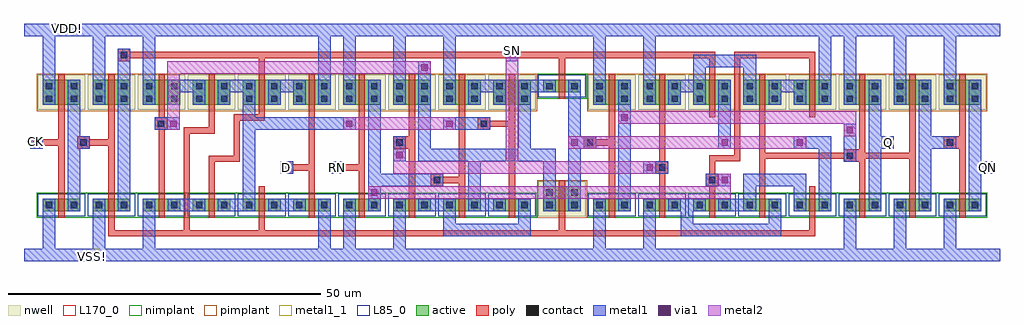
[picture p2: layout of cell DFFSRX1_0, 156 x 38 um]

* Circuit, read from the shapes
.subckt DFFSRX1_0 CK D Q QN RN SN VDD! VSS!
M1 n1 CK VSS! VSUBS nfet w=2u l=1u
M2 n2 n1 VSS! VSUBS nfet w=2u l=1u
M3 n3 n4 VSS! VSUBS nfet w=2u l=1u
M4 n5 n2 n3 VSUBS nfet w=2u l=1u
M5 n6 n1 n5 VSUBS nfet w=2u l=1u
M6 VSS! D n6 VSUBS nfet w=2u l=1u
M7 n7 RN VSS! VSUBS nfet w=2u l=1u
M8 n8 SN VSS! VSUBS nfet w=2u l=1u
M9 n4 n7 n8 VSUBS nfet w=2u l=1u
M10 n8 n5 n4 VSUBS nfet w=2u l=1u
M11 n9 n2 n4 VSUBS nfet w=2u l=1u
M12 n10 n9 VSS! VSUBS nfet w=2u l=1u
M13 n11 SN VSS! VSUBS nfet w=2u l=1u
M14 n12 n7 n11 VSUBS nfet w=2u l=1u
M15 n11 n10 n12 VSUBS nfet w=2u l=1u
M16 n9 n1 n12 VSUBS nfet w=2u l=1u
M17 Q n10 VSS! VSUBS nfet w=2u l=1u
M18 n13 n10 VSS! VSUBS nfet w=2u l=1u
M19 QN n13 VSS! VSUBS nfet w=2u l=1u
M20 n1 CK VDD! n14 pfet w=4u l=1u
M21 n2 n1 VDD! n15 pfet w=4u l=1u
M22 n16 n4 VDD! n17 pfet w=4u l=1u
M23 n5 n1 n16 n18 pfet w=4u l=1u
M24 n19 n2 n5 n20 pfet w=4u l=1u
M25 VDD! D n19 n21 pfet w=4u l=1u
M26 n7 RN VDD! n22 pfet w=4u l=1u
M27 n4 SN VDD! n23 pfet w=4u l=1u
M28 n24 n7 VDD! n25 pfet w=4u l=1u
M29 n4 n5 n24 n26 pfet w=4u l=1u
M30 n9 n1 n4 n27 pfet w=4u l=1u
M31 n10 n9 VDD! n28 pfet w=4u l=1u
M32 n29 SN VDD! n30 pfet w=4u l=1u
M33 n9 n2 n29 n31 pfet w=4u l=1u
M34 n32 n10 n29 n33 pfet w=4u l=1u
M35 VDD! n7 n32 n34 pfet w=4u l=1u
M36 Q n10 VDD! n35 pfet w=4u l=1u
M37 n13 n10 VDD! n36 pfet w=4u l=1u
M38 QN n13 VDD! n37 pfet w=4u l=1u
.ends

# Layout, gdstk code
from math import pi, radians
import gdstk
lib = gdstk.Library(unit=1e-6, precision=5e-10)
def R(c, l, rs):  # rectangles x0, y0, x1, y1
    for r in rs: c.add(gdstk.rectangle(r[:2], r[2:], *l))
active = (1, 0)
nwell = (2, 0)
poly = (3, 0)
nimplant = (4, 0)
pimplant = (5, 0)
contact = (6, 0)
metal1 = (7, 0)
metal1_1 = (7, 1)
via1 = (8, 0)
metal2 = (9, 0)
L85_0 = (85, 0)
L170_0 = (170, 0)

nmos3_cdns_641374622494 = lib.new_cell('nmos3_CDNS_641374622494')
R(nmos3_cdns_641374622494, active, [(1,1,7,3)])
R(nmos3_cdns_641374622494, poly, [(3.5,0,4.5,5), (3.6,3.5,4.4,3.9)])
R(nmos3_cdns_641374622494, nimplant, [(0,0,8,4)])
R(nmos3_cdns_641374622494, contact, [(1.5,1.5,2.5,2.5), (5.5,1.5,6.5,2.5), (5.5,1.5,6.5,2.5)])
R(nmos3_cdns_641374622494, metal1, [(1,1,3,3), (5,1,7,3), (1.3,1.3,2.7,2.7), (5.3,1.3,6.7,2.7)])
R(nmos3_cdns_641374622494, L85_0, [(0.2,0.2,7.8,3.8)])
R(nmos3_cdns_641374622494, L170_0, [(4.5,1,7,3)])

pmos3_cdns_641374622495 = lib.new_cell('pmos3_CDNS_641374622495')
R(pmos3_cdns_641374622495, active, [(1,1,7,5)])
R(pmos3_cdns_641374622495, nwell, [(0.2,0.2,7.8,5.8)])
R(pmos3_cdns_641374622495, poly, [(3.5,0,4.5,7), (3.6,5.6,4.4,5.9)])
R(pmos3_cdns_641374622495, pimplant, [(0,0,8,6)])
R(pmos3_cdns_641374622495, contact, [(1.5,1.5,2.5,2.5), (5.5,1.5,6.5,2.5), (5.5,1.5,6.5,2.5), (1.5,3.5,2.5,4.5), (5.5,3.5,6.5,4.5)])
R(pmos3_cdns_641374622495, metal1, [(1,1,3,5), (5,1,7,5), (1.3,1.3,2.7,2.7), (5.3,1.3,6.7,2.7)])
R(pmos3_cdns_641374622495, L170_0, [(4.5,1,7,5)])

m1_po_cdns_641374622490 = lib.new_cell('M1_PO_CDNS_641374622490')
R(m1_po_cdns_641374622490, poly, [(-1,-1,1,1)])
R(m1_po_cdns_641374622490, contact, [(-0.5,-0.5,0.5,0.5)])
R(m1_po_cdns_641374622490, metal1, [(-1,-1,1,1)])

m2_m1_cdns_641374622491 = lib.new_cell('M2_M1_CDNS_641374622491')
R(m2_m1_cdns_641374622491, metal1, [(-1,-1,1,1)])
R(m2_m1_cdns_641374622491, via1, [(-0.5,-0.5,0.5,0.5)])
R(m2_m1_cdns_641374622491, metal2, [(-1,-1,1,1)])

dffsrx1_0 = lib.new_cell('DFFSRX1_0')
R(dffsrx1_0, poly, [(132.2,14.9,133.8,16.9), (61,17,61.9,19), (148.7,17,150,19)])
R(dffsrx1_0, metal1, [(103.1,7.1,108.8,9), (41,13,43,15), (49,13,51,15), (151,13,155,15), (1,17,3,19), (77,31,79,33), (77,31,79,33)])
R(dffsrx1_0, metal1_1, [(10,-1,12,1), (41,13,43,15), (49,13,51,15), (153,13,155,15), (1,17,3,19), (137,17,139,19), (77,31,79,33), (6,35,8,37)])
dffsrx1_0.add(gdstk.FlexPath([(34,22),(38.5,22)], 1, ends=(0.5, 0), simple_path=True, layer=3, datatype=0))  # poly
dffsrx1_0.add(gdstk.FlexPath([(34,15.4),(34,22)], 1, ends="extended", simple_path=True, layer=3, datatype=0))  # poly
dffsrx1_0.add(gdstk.FlexPath([(30,15.4),(34,15.4)], 1, ends="extended", simple_path=True, layer=3, datatype=0))  # poly
dffsrx1_0.add(gdstk.FlexPath([(30,9.5),(30,15.4)], 1, ends=(0, 0.5), simple_path=True, layer=3, datatype=0))  # poly
dffsrx1_0.add(gdstk.FlexPath([(14,3.5),(26,3.5)], 1, ends="extended", simple_path=True, layer=3, datatype=0))  # poly
dffsrx1_0.add(gdstk.FlexPath([(26,19.9),(26,3.5)], 1, ends="extended", simple_path=True, layer=3, datatype=0))  # poly
dffsrx1_0.add(gdstk.FlexPath([(30,19.9),(26,19.9)], 1, ends="extended", simple_path=True, layer=3, datatype=0))  # poly
dffsrx1_0.add(gdstk.FlexPath([(30,23.4),(30,19.9)], 1, ends=(0, 0.5), simple_path=True, layer=3, datatype=0))  # poly
dffsrx1_0.add(gdstk.FlexPath([(22,9.5),(22,24)], 1, ends="flush", simple_path=True, layer=3, datatype=0))  # poly
dffsrx1_0.add(gdstk.FlexPath([(150,9.5),(150,23.7)], 1, ends="flush", simple_path=True, layer=3, datatype=0))  # poly
dffsrx1_0.add(gdstk.FlexPath([(142,15.9),(142,23.8)], 1, ends=(0.5, 0), simple_path=True, layer=3, datatype=0))  # poly
dffsrx1_0.add(gdstk.FlexPath([(142,9.5),(142,15.9)], 1, ends=(0, 0.5), simple_path=True, layer=3, datatype=0))  # poly
dffsrx1_0.add(gdstk.FlexPath([(134,9.3),(134,23.8)], 1, ends="flush", simple_path=True, layer=3, datatype=0))  # poly
dffsrx1_0.add(gdstk.FlexPath([(118,15.9),(142,15.9)], 1, ends="extended", simple_path=True, layer=3, datatype=0))  # poly
dffsrx1_0.add(gdstk.FlexPath([(118,15.9),(118,23.4)], 1, ends=(0.5, 0), simple_path=True, layer=3, datatype=0))  # poly
dffsrx1_0.add(gdstk.FlexPath([(126,22.8),(126,32)], 1, ends=(0, 0.5), simple_path=True, layer=3, datatype=0))  # poly
dffsrx1_0.add(gdstk.FlexPath([(126,32),(114,32)], 1, ends="extended", simple_path=True, layer=3, datatype=0))  # poly
dffsrx1_0.add(gdstk.FlexPath([(114,32),(114,15.5)], 1, ends="extended", simple_path=True, layer=3, datatype=0))  # poly
dffsrx1_0.add(gdstk.FlexPath([(114,15.5),(110,15.5)], 1, ends="extended", simple_path=True, layer=3, datatype=0))  # poly
dffsrx1_0.add(gdstk.FlexPath([(110,15.5),(110,12)], 1, ends=(0.5, 0), simple_path=True, layer=3, datatype=0))  # poly
dffsrx1_0.add(gdstk.FlexPath([(126,9.9),(126,3.5)], 1, ends=(0, 0.5), simple_path=True, layer=3, datatype=0))  # poly
dffsrx1_0.add(gdstk.FlexPath([(118,9.5),(118,15.9)], 1, ends=(0, 0.5), simple_path=True, layer=3, datatype=0))  # poly
dffsrx1_0.add(gdstk.FlexPath([(110.5,32),(110,32)], 1, ends=(0, 0.5), simple_path=True, layer=3, datatype=0))  # poly
dffsrx1_0.add(gdstk.FlexPath([(110,23),(110,32)], 1, ends=(0, 0.5), simple_path=True, layer=3, datatype=0))  # poly
dffsrx1_0.add(gdstk.FlexPath([(102,9.5),(102,24.1)], 1, ends="flush", simple_path=True, layer=3, datatype=0))  # poly
dffsrx1_0.add(gdstk.FlexPath([(94,9.5),(94,18)], 1, ends=(0, 0.5), simple_path=True, layer=3, datatype=0))  # poly
dffsrx1_0.add(gdstk.FlexPath([(90.5,18),(94,18)], 1, ends=(0, 0.5), simple_path=True, layer=3, datatype=0))  # poly
dffsrx1_0.add(gdstk.FlexPath([(94,18),(94,23.6)], 1, ends=(0.5, 0), simple_path=True, layer=3, datatype=0))  # poly
dffsrx1_0.add(gdstk.FlexPath([(110,32),(86,32)], 1, ends="extended", simple_path=True, layer=3, datatype=0))  # poly
dffsrx1_0.add(gdstk.FlexPath([(86,28.2),(86,32)], 1, ends=(0, 0.5), simple_path=True, layer=3, datatype=0))  # poly
dffsrx1_0.add(gdstk.FlexPath([(86,6.8),(86,3.5)], 1, ends=(0, 0.5), simple_path=True, layer=3, datatype=0))  # poly
dffsrx1_0.add(gdstk.FlexPath([(70,24.2),(70,14)], 1, ends=(0, 0.5), simple_path=True, layer=3, datatype=0))  # poly
dffsrx1_0.add(gdstk.FlexPath([(70,12),(66,12)], 1, ends=(0.5, 0), simple_path=True, layer=3, datatype=0))  # poly
dffsrx1_0.add(gdstk.FlexPath([(70,9.5),(70,14)], 1, ends=(0, 0.5), simple_path=True, layer=3, datatype=0))  # poly
dffsrx1_0.add(gdstk.FlexPath([(62,9.5),(62,23.8)], 1, ends="flush", simple_path=True, layer=3, datatype=0))  # poly
dffsrx1_0.add(gdstk.FlexPath([(54,9.5),(54,14)], 1, ends=(0, 0.5), simple_path=True, layer=3, datatype=0))  # poly
dffsrx1_0.add(gdstk.FlexPath([(54,14),(50,14)], 1, ends=(0.5, 0), simple_path=True, layer=3, datatype=0))  # poly
dffsrx1_0.add(gdstk.FlexPath([(54,14),(54,23.6)], 1, ends=(0.5, 0), simple_path=True, layer=3, datatype=0))  # poly
dffsrx1_0.add(gdstk.FlexPath([(45.8,14),(41.8,14)], 1, ends=(0.5, 0), simple_path=True, layer=3, datatype=0))  # poly
dffsrx1_0.add(gdstk.FlexPath([(46,18),(46,23.4)], 1, ends=(0.5, 0), simple_path=True, layer=3, datatype=0))  # poly
dffsrx1_0.add(gdstk.FlexPath([(46,9.4),(46,18)], 1, ends=(0, 0.5), simple_path=True, layer=3, datatype=0))  # poly
dffsrx1_0.add(gdstk.FlexPath([(86,32),(38,32)], 1, ends="extended", simple_path=True, layer=3, datatype=0))  # poly
dffsrx1_0.add(gdstk.FlexPath([(38,22.7),(38,32)], 1, ends=(0, 0.5), simple_path=True, layer=3, datatype=0))  # poly
dffsrx1_0.add(gdstk.FlexPath([(38,10.6),(38,4)], 1, ends=(0, 0.5), simple_path=True, layer=3, datatype=0))  # poly
dffsrx1_0.add(gdstk.FlexPath([(38,32),(15.3,32)], 1, ends=(0.5, 0), simple_path=True, layer=3, datatype=0))  # poly
dffsrx1_0.add(gdstk.FlexPath([(126,3.5),(86,3.5)], 1, ends="extended", simple_path=True, layer=3, datatype=0))  # poly
dffsrx1_0.add(gdstk.FlexPath([(26,3.5),(86,3.5)], 1, ends="extended", simple_path=True, layer=3, datatype=0))  # poly
dffsrx1_0.add(gdstk.FlexPath([(14,23.9),(14,18)], 1, ends=(0, 0.5), simple_path=True, layer=3, datatype=0))  # poly
dffsrx1_0.add(gdstk.FlexPath([(14,18),(10.5,18)], 1, ends=(0.5, 0), simple_path=True, layer=3, datatype=0))  # poly
dffsrx1_0.add(gdstk.FlexPath([(14,18),(14,3.5)], 1, ends="extended", simple_path=True, layer=3, datatype=0))  # poly
dffsrx1_0.add(gdstk.FlexPath([(6,18),(2,18)], 1, ends=(0.5, 0), simple_path=True, layer=3, datatype=0))  # poly
dffsrx1_0.add(gdstk.FlexPath([(6,9.5),(6,24.8)], 1, ends="flush", simple_path=True, layer=3, datatype=0))  # poly
dffsrx1_0.add(gdstk.FlexPath([(78,9.3),(78,21)], 1, ends=(0, 0.5), simple_path=True, layer=3, datatype=0))  # poly
dffsrx1_0.add(gdstk.FlexPath([(78,21),(73.5,21)], 1, ends=(0.5, 0), simple_path=True, layer=3, datatype=0))  # poly
dffsrx1_0.add(gdstk.FlexPath([(78,21),(78,23.7)], 1, ends=(0.5, 0), simple_path=True, layer=3, datatype=0))  # poly
dffsrx1_0.add(gdstk.FlexPath([(52,0),(60,0)], 2, ends="extended", simple_path=True, layer=7, datatype=0))  # metal1
dffsrx1_0.add(gdstk.FlexPath([(60,8.7),(60,0)], 2, ends=(0, 1), simple_path=True, layer=7, datatype=0))  # metal1
dffsrx1_0.add(gdstk.FlexPath([(12,0),(20,0)], 2, ends="extended", simple_path=True, layer=7, datatype=0))  # metal1
dffsrx1_0.add(gdstk.FlexPath([(20,8.7),(20,0)], 2, ends=(0, 1), simple_path=True, layer=7, datatype=0))  # metal1
dffsrx1_0.add(gdstk.FlexPath([(12,36),(20,36)], 2, ends="extended", simple_path=True, layer=7, datatype=0))  # metal1
dffsrx1_0.add(gdstk.FlexPath([(20,26.3),(20,36)], 2, ends=(0, 1), simple_path=True, layer=7, datatype=0))  # metal1
dffsrx1_0.add(gdstk.FlexPath([(136,7.3),(136,18)], 2, ends=(0, 1), simple_path=True, layer=7, datatype=0))  # metal1
dffsrx1_0.add(gdstk.FlexPath([(139,18),(136,18)], 2, ends=(0, 1), simple_path=True, layer=7, datatype=0))  # metal1
dffsrx1_0.add(gdstk.FlexPath([(12,0),(12,-1)], 2, ends=(1, 0), simple_path=True, layer=7, datatype=0))  # metal1
dffsrx1_0.add(gdstk.FlexPath([(148,0),(156,0)], 2, ends=(1, 0), simple_path=True, layer=7, datatype=0))  # metal1
dffsrx1_0.add(gdstk.FlexPath([(140,0),(148,0)], 2, ends="extended", simple_path=True, layer=7, datatype=0))  # metal1
dffsrx1_0.add(gdstk.FlexPath([(132,0),(140,0)], 2, ends="extended", simple_path=True, layer=7, datatype=0))  # metal1
dffsrx1_0.add(gdstk.FlexPath([(100,0),(132,0)], 2, ends="extended", simple_path=True, layer=7, datatype=0))  # metal1
dffsrx1_0.add(gdstk.FlexPath([(36,27),(36,27.9)], 2, ends=(1, 0), simple_path=True, layer=7, datatype=0))  # metal1
dffsrx1_0.add(gdstk.FlexPath([(28.7,27),(23.3,27)], 2, ends="flush", simple_path=True, layer=7, datatype=0))  # metal1
dffsrx1_0.add(gdstk.FlexPath([(28.7,8),(23.3,8)], 2, ends="flush", simple_path=True, layer=7, datatype=0))  # metal1
dffsrx1_0.add(gdstk.FlexPath([(144,18),(148.5,18)], 2, ends=(1, 0), simple_path=True, layer=7, datatype=0))  # metal1
dffsrx1_0.add(gdstk.FlexPath([(144,18),(144,27.7)], 2, ends=(1, 0), simple_path=True, layer=7, datatype=0))  # metal1
dffsrx1_0.add(gdstk.FlexPath([(152,27.7),(152,7.2)], 2, ends="flush", simple_path=True, layer=7, datatype=0))  # metal1
dffsrx1_0.add(gdstk.FlexPath([(20,36),(48,36)], 2, ends="extended", simple_path=True, layer=7, datatype=0))  # metal1
dffsrx1_0.add(gdstk.FlexPath([(148,26.3),(148,36)], 2, ends=(0, 1), simple_path=True, layer=7, datatype=0))  # metal1
dffsrx1_0.add(gdstk.FlexPath([(4,36),(12,36)], 2, ends="extended", simple_path=True, layer=7, datatype=0))  # metal1
dffsrx1_0.add(gdstk.FlexPath([(148,8.6),(148,0)], 2, ends=(0, 1), simple_path=True, layer=7, datatype=0))  # metal1
dffsrx1_0.add(gdstk.FlexPath([(144,7.3),(144,18)], 2, ends=(0, 1), simple_path=True, layer=7, datatype=0))  # metal1
dffsrx1_0.add(gdstk.FlexPath([(48,36),(52,36)], 2, ends="extended", simple_path=True, layer=7, datatype=0))  # metal1
dffsrx1_0.add(gdstk.FlexPath([(140,26.3),(140,36)], 2, ends=(0, 1), simple_path=True, layer=7, datatype=0))  # metal1
dffsrx1_0.add(gdstk.FlexPath([(52,36),(60,36)], 2, ends="extended", simple_path=True, layer=7, datatype=0))  # metal1
dffsrx1_0.add(gdstk.FlexPath([(132,15.9),(132,20)], 2, ends="flush", simple_path=True, layer=7, datatype=0))  # metal1
dffsrx1_0.add(gdstk.FlexPath([(136,18),(136,27.7)], 2, ends=(1, 0), simple_path=True, layer=7, datatype=0))  # metal1
dffsrx1_0.add(gdstk.FlexPath([(60,36),(68,36)], 2, ends="extended", simple_path=True, layer=7, datatype=0))  # metal1
dffsrx1_0.add(gdstk.FlexPath([(132,8.7),(132,0)], 2, ends=(0, 1), simple_path=True, layer=7, datatype=0))  # metal1
dffsrx1_0.add(gdstk.FlexPath([(68,36),(92,36)], 2, ends="extended", simple_path=True, layer=7, datatype=0))  # metal1
dffsrx1_0.add(gdstk.FlexPath([(132,26.3),(132,36)], 2, ends=(0, 1), simple_path=True, layer=7, datatype=0))  # metal1
dffsrx1_0.add(gdstk.FlexPath([(140,8.7),(140,0)], 2, ends=(0, 1), simple_path=True, layer=7, datatype=0))  # metal1
dffsrx1_0.add(gdstk.FlexPath([(128,18),(124,18)], 2, ends=(1, 0), simple_path=True, layer=7, datatype=0))  # metal1
dffsrx1_0.add(gdstk.FlexPath([(128,7.3),(128,18)], 2, ends=(0, 1), simple_path=True, layer=7, datatype=0))  # metal1
dffsrx1_0.add(gdstk.FlexPath([(116,8),(116,7.3)], 2, ends=(1, 0), simple_path=True, layer=7, datatype=0))  # metal1
dffsrx1_0.add(gdstk.FlexPath([(116,8),(111.3,8)], 2, ends=(1, 0), simple_path=True, layer=7, datatype=0))  # metal1
dffsrx1_0.add(gdstk.FlexPath([(112,27.7),(112,18)], 2, ends="flush", simple_path=True, layer=7, datatype=0))  # metal1
dffsrx1_0.add(gdstk.FlexPath([(124,12),(116,12)], 2, ends="extended", simple_path=True, layer=7, datatype=0))  # metal1
dffsrx1_0.add(gdstk.FlexPath([(116.7,8),(116,8)], 2, ends=(0, 1), simple_path=True, layer=7, datatype=0))  # metal1
dffsrx1_0.add(gdstk.FlexPath([(120,4),(106,4)], 2, ends="extended", simple_path=True, layer=7, datatype=0))  # metal1
dffsrx1_0.add(gdstk.FlexPath([(124,7.3),(124,12)], 2, ends=(0, 1), simple_path=True, layer=7, datatype=0))  # metal1
dffsrx1_0.add(gdstk.FlexPath([(120,8.7),(120,4)], 2, ends=(0, 1), simple_path=True, layer=7, datatype=0))  # metal1
dffsrx1_0.add(gdstk.FlexPath([(108,31),(108,27.7)], 2, ends=(1, 0), simple_path=True, layer=7, datatype=0))  # metal1
dffsrx1_0.add(gdstk.FlexPath([(116,31),(108,31)], 2, ends="extended", simple_path=True, layer=7, datatype=0))  # metal1
dffsrx1_0.add(gdstk.FlexPath([(116,26.3),(116,31)], 2, ends=(0, 1), simple_path=True, layer=7, datatype=0))  # metal1
dffsrx1_0.add(gdstk.FlexPath([(92,36),(100,36)], 2, ends="extended", simple_path=True, layer=7, datatype=0))  # metal1
dffsrx1_0.add(gdstk.FlexPath([(128,26.3),(128,36)], 2, ends=(0, 1), simple_path=True, layer=7, datatype=0))  # metal1
dffsrx1_0.add(gdstk.FlexPath([(119.3,27),(124.7,27)], 2, ends="flush", simple_path=True, layer=7, datatype=0))  # metal1
dffsrx1_0.add(gdstk.FlexPath([(103.3,27),(108.7,27)], 2, ends="flush", simple_path=True, layer=7, datatype=0))  # metal1
dffsrx1_0.add(gdstk.FlexPath([(116,12),(116,8)], 2, ends="extended", simple_path=True, layer=7, datatype=0))  # metal1
dffsrx1_0.add(gdstk.FlexPath([(100,36),(128,36)], 2, ends="extended", simple_path=True, layer=7, datatype=0))  # metal1
dffsrx1_0.add(gdstk.FlexPath([(100,26.3),(100,36)], 2, ends=(0, 1), simple_path=True, layer=7, datatype=0))  # metal1
dffsrx1_0.add(gdstk.FlexPath([(128,36),(132,36)], 2, ends="extended", simple_path=True, layer=7, datatype=0))  # metal1
dffsrx1_0.add(gdstk.FlexPath([(100,8.7),(100,0)], 2, ends=(0, 1), simple_path=True, layer=7, datatype=0))  # metal1
dffsrx1_0.add(gdstk.FlexPath([(106,4),(106,9)], 2, ends=(1, 0), simple_path=True, layer=7, datatype=0))  # metal1
dffsrx1_0.add(gdstk.FlexPath([(88,18),(90.5,18)], 2, ends=(1, 0), simple_path=True, layer=7, datatype=0))  # metal1
dffsrx1_0.add(gdstk.FlexPath([(88,18),(88,27.7)], 2, ends=(1, 0), simple_path=True, layer=7, datatype=0))  # metal1
dffsrx1_0.add(gdstk.FlexPath([(96,7.3),(96,27.7)], 2, ends="flush", simple_path=True, layer=7, datatype=0))  # metal1
dffsrx1_0.add(gdstk.FlexPath([(132,36),(140,36)], 2, ends="extended", simple_path=True, layer=7, datatype=0))  # metal1
dffsrx1_0.add(gdstk.FlexPath([(92,26.3),(92,36)], 2, ends=(0, 1), simple_path=True, layer=7, datatype=0))  # metal1
dffsrx1_0.add(gdstk.FlexPath([(140,36),(148,36)], 2, ends="extended", simple_path=True, layer=7, datatype=0))  # metal1
dffsrx1_0.add(gdstk.FlexPath([(92,8.7),(92,0)], 2, ends=(0, 1), simple_path=True, layer=7, datatype=0))  # metal1
dffsrx1_0.add(gdstk.FlexPath([(88,9.3),(88,18)], 2, ends=(0, 1), simple_path=True, layer=7, datatype=0))  # metal1
dffsrx1_0.add(gdstk.FlexPath([(84,16),(80,16)], 2, ends="extended", simple_path=True, layer=7, datatype=0))  # metal1
dffsrx1_0.add(gdstk.FlexPath([(84,9.3),(84,16)], 2, ends=(0, 1), simple_path=True, layer=7, datatype=0))  # metal1
dffsrx1_0.add(gdstk.FlexPath([(80,27),(80,27.7)], 2, ends=(1, 0), simple_path=True, layer=7, datatype=0))  # metal1
dffsrx1_0.add(gdstk.FlexPath([(80,27),(79.3,27)], 2, ends=(1, 0), simple_path=True, layer=7, datatype=0))  # metal1
dffsrx1_0.add(gdstk.FlexPath([(84.7,27),(80,27)], 2, ends=(0, 1), simple_path=True, layer=7, datatype=0))  # metal1
dffsrx1_0.add(gdstk.FlexPath([(36,7.3),(36,8)], 2, ends=(0, 1), simple_path=True, layer=7, datatype=0))  # metal1
dffsrx1_0.add(gdstk.FlexPath([(52,21),(36,21)], 2, ends=(0, 1), simple_path=True, layer=7, datatype=0))  # metal1
dffsrx1_0.add(gdstk.FlexPath([(73.5,21),(67,21)], 2, ends="flush", simple_path=True, layer=7, datatype=0))  # metal1
dffsrx1_0.add(gdstk.FlexPath([(80,16),(80,27)], 2, ends="extended", simple_path=True, layer=7, datatype=0))  # metal1
dffsrx1_0.add(gdstk.FlexPath([(148,36),(156,36)], 2, ends=(1, 0), simple_path=True, layer=7, datatype=0))  # metal1
dffsrx1_0.add(gdstk.FlexPath([(68,26.3),(68,36)], 2, ends=(0, 1), simple_path=True, layer=7, datatype=0))  # metal1
dffsrx1_0.add(gdstk.FlexPath([(71.3,27),(76.7,27)], 2, ends="flush", simple_path=True, layer=7, datatype=0))  # metal1
dffsrx1_0.add(gdstk.FlexPath([(68,8),(68.7,8)], 2, ends=(1, 0), simple_path=True, layer=7, datatype=0))  # metal1
dffsrx1_0.add(gdstk.FlexPath([(80,4),(80,8.7)], 2, ends=(1, 0), simple_path=True, layer=7, datatype=0))  # metal1
dffsrx1_0.add(gdstk.FlexPath([(68,4),(80,4)], 2, ends="extended", simple_path=True, layer=7, datatype=0))  # metal1
dffsrx1_0.add(gdstk.FlexPath([(68,8),(68,4)], 2, ends="extended", simple_path=True, layer=7, datatype=0))  # metal1
dffsrx1_0.add(gdstk.FlexPath([(76.7,8),(72.7,8)], 2, ends="flush", simple_path=True, layer=7, datatype=0))  # metal1
dffsrx1_0.add(gdstk.FlexPath([(64,16),(64,30.8)], 2, ends=(1, 0), simple_path=True, layer=7, datatype=0))  # metal1
dffsrx1_0.add(gdstk.FlexPath([(80,16),(64,16)], 2, ends="extended", simple_path=True, layer=7, datatype=0))  # metal1
dffsrx1_0.add(gdstk.FlexPath([(72,7.3),(72,16)], 2, ends=(0, 1), simple_path=True, layer=7, datatype=0))  # metal1
dffsrx1_0.add(gdstk.FlexPath([(56,12),(66,12)], 2, ends=(1, 0), simple_path=True, layer=7, datatype=0))  # metal1
dffsrx1_0.add(gdstk.FlexPath([(56,14),(56,7.3)], 2, ends=(1, 0), simple_path=True, layer=7, datatype=0))  # metal1
dffsrx1_0.add(gdstk.FlexPath([(4,0),(12,0)], 2, ends="extended", simple_path=True, layer=7, datatype=0))  # metal1
dffsrx1_0.add(gdstk.FlexPath([(60,26.3),(60,36)], 2, ends=(0, 1), simple_path=True, layer=7, datatype=0))  # metal1
dffsrx1_0.add(gdstk.FlexPath([(63.3,8),(68,8)], 2, ends=(0, 1), simple_path=True, layer=7, datatype=0))  # metal1
dffsrx1_0.add(gdstk.FlexPath([(56,27.7),(56,14)], 2, ends=(0, 1), simple_path=True, layer=7, datatype=0))  # metal1
dffsrx1_0.add(gdstk.FlexPath([(20,0),(48,0)], 2, ends="extended", simple_path=True, layer=7, datatype=0))  # metal1
dffsrx1_0.add(gdstk.FlexPath([(52,26.3),(52,36)], 2, ends=(0, 1), simple_path=True, layer=7, datatype=0))  # metal1
dffsrx1_0.add(gdstk.FlexPath([(48,0),(52,0)], 2, ends="extended", simple_path=True, layer=7, datatype=0))  # metal1
dffsrx1_0.add(gdstk.FlexPath([(52,8.7),(52,0)], 2, ends=(0, 1), simple_path=True, layer=7, datatype=0))  # metal1
dffsrx1_0.add(gdstk.FlexPath([(60,0),(92,0)], 2, ends="extended", simple_path=True, layer=7, datatype=0))  # metal1
dffsrx1_0.add(gdstk.FlexPath([(48,8.7),(48,0)], 2, ends=(0, 1), simple_path=True, layer=7, datatype=0))  # metal1
dffsrx1_0.add(gdstk.FlexPath([(39.3,8),(44.7,8)], 2, ends="flush", simple_path=True, layer=7, datatype=0))  # metal1
dffsrx1_0.add(gdstk.FlexPath([(36,21),(36,27)], 2, ends="extended", simple_path=True, layer=7, datatype=0))  # metal1
dffsrx1_0.add(gdstk.FlexPath([(92,0),(100,0)], 2, ends="extended", simple_path=True, layer=7, datatype=0))  # metal1
dffsrx1_0.add(gdstk.FlexPath([(48,26.3),(48,36)], 2, ends=(0, 1), simple_path=True, layer=7, datatype=0))  # metal1
dffsrx1_0.add(gdstk.FlexPath([(39.3,27),(44.7,27)], 2, ends="flush", simple_path=True, layer=7, datatype=0))  # metal1
dffsrx1_0.add(gdstk.FlexPath([(16,7.3),(16,33)], 2, ends="flush", simple_path=True, layer=7, datatype=0))  # metal1
dffsrx1_0.add(gdstk.FlexPath([(0,0),(4,0)], 2, ends=(0, 1), simple_path=True, layer=7, datatype=0))  # metal1
dffsrx1_0.add(gdstk.FlexPath([(12,8.7),(12,0)], 2, ends=(0, 1), simple_path=True, layer=7, datatype=0))  # metal1
dffsrx1_0.add(gdstk.FlexPath([(36,8),(36,21)], 2, ends="extended", simple_path=True, layer=7, datatype=0))  # metal1
dffsrx1_0.add(gdstk.FlexPath([(12,27.3),(12,36)], 2, ends=(0, 1), simple_path=True, layer=7, datatype=0))  # metal1
dffsrx1_0.add(gdstk.FlexPath([(8,18),(10.5,18)], 2, ends=(1, 0), simple_path=True, layer=7, datatype=0))  # metal1
dffsrx1_0.add(gdstk.FlexPath([(31.3,8),(36,8)], 2, ends=(0, 1), simple_path=True, layer=7, datatype=0))  # metal1
dffsrx1_0.add(gdstk.FlexPath([(8,27.3),(8,7)], 2, ends="flush", simple_path=True, layer=7, datatype=0))  # metal1
dffsrx1_0.add(gdstk.FlexPath([(31.3,27),(36,27)], 2, ends=(0, 1), simple_path=True, layer=7, datatype=0))  # metal1
dffsrx1_0.add(gdstk.FlexPath([(4,27.3),(4,36)], 2, ends=(0, 1), simple_path=True, layer=7, datatype=0))  # metal1
dffsrx1_0.add(gdstk.FlexPath([(36,27),(36.7,27)], 2, ends=(1, 0), simple_path=True, layer=7, datatype=0))  # metal1
dffsrx1_0.add(gdstk.FlexPath([(4,8.7),(4,0)], 2, ends=(0, 1), simple_path=True, layer=7, datatype=0))  # metal1
dffsrx1_0.add(gdstk.FlexPath([(0,36),(4,36)], 2, ends=(0, 1), simple_path=True, layer=7, datatype=0))  # metal1
dffsrx1_0.add(gdstk.FlexPath([(36,8),(36.7,8)], 2, ends=(1, 0), simple_path=True, layer=7, datatype=0))  # metal1
dffsrx1_0.add(gdstk.FlexPath([(96,22),(133,22)], 2, ends="flush", simple_path=True, layer=9, datatype=0))  # metal2
dffsrx1_0.add(gdstk.FlexPath([(78,14),(78,32)], 2, ends=(1, 0), simple_path=True, layer=9, datatype=0))  # metal2
dffsrx1_0.add(gdstk.FlexPath([(56,10),(113,10)], 2, ends="flush", simple_path=True, layer=9, datatype=0))  # metal2
dffsrx1_0.add(gdstk.FlexPath([(78,14),(101,14)], 2, ends=(1, 0), simple_path=True, layer=9, datatype=0))  # metal2
dffsrx1_0.add(gdstk.FlexPath([(88,18),(125,18)], 2, ends="flush", simple_path=True, layer=9, datatype=0))  # metal2
dffsrx1_0.add(gdstk.FlexPath([(60,14),(78,14)], 2, ends="extended", simple_path=True, layer=9, datatype=0))  # metal2
dffsrx1_0.add(gdstk.FlexPath([(60,16),(60,14)], 2, ends=(0, 1), simple_path=True, layer=9, datatype=0))  # metal2
dffsrx1_0.add(gdstk.FlexPath([(68,21),(51.2,21)], 2, ends="flush", simple_path=True, layer=9, datatype=0))  # metal2
dffsrx1_0.add(gdstk.FlexPath([(64,30),(23.9,30)], 2, ends=(0, 1), simple_path=True, layer=9, datatype=0))  # metal2
dffsrx1_0.add(gdstk.FlexPath([(23.9,30),(23.9,21)], 2, ends=(1, 0), simple_path=True, layer=9, datatype=0))  # metal2
dffsrx1_0.add(gdstk.Reference(nmos3_cdns_641374622494, (42,6)))
dffsrx1_0.add(gdstk.Reference(nmos3_cdns_641374622494, (34,6)))
dffsrx1_0.add(gdstk.Reference(nmos3_cdns_641374622494, (138,6), rotation=pi, x_reflection=True))
dffsrx1_0.add(gdstk.Reference(nmos3_cdns_641374622494, (58,6), rotation=pi, x_reflection=True))
dffsrx1_0.add(gdstk.Reference(nmos3_cdns_641374622494, (10,6), rotation=pi, x_reflection=True))
dffsrx1_0.add(gdstk.Reference(nmos3_cdns_641374622494, (34,6), rotation=pi, x_reflection=True))
dffsrx1_0.add(gdstk.Reference(nmos3_cdns_641374622494, (26,6), rotation=pi, x_reflection=True))
dffsrx1_0.add(gdstk.Reference(nmos3_cdns_641374622494, (154,6), rotation=pi, x_reflection=True))
dffsrx1_0.add(gdstk.Reference(nmos3_cdns_641374622494, (18,6), rotation=pi, x_reflection=True))
dffsrx1_0.add(gdstk.Reference(nmos3_cdns_641374622494, (130,6), rotation=pi, x_reflection=True))
dffsrx1_0.add(gdstk.Reference(nmos3_cdns_641374622494, (98,6), rotation=pi, x_reflection=True))
dffsrx1_0.add(gdstk.Reference(nmos3_cdns_641374622494, (90,25), rotation=pi, x_reflection=True))
dffsrx1_0.add(gdstk.Reference(nmos3_cdns_641374622494, (74,6)))
dffsrx1_0.add(gdstk.Reference(nmos3_cdns_641374622494, (74,6), rotation=pi, x_reflection=True))
dffsrx1_0.add(gdstk.Reference(nmos3_cdns_641374622494, (66,6), rotation=pi, x_reflection=True))
dffsrx1_0.add(gdstk.Reference(nmos3_cdns_641374622494, (114,6), rotation=pi, x_reflection=True))
dffsrx1_0.add(gdstk.Reference(nmos3_cdns_641374622494, (114,6)))
dffsrx1_0.add(gdstk.Reference(nmos3_cdns_641374622494, (106,6), rotation=pi, x_reflection=True))
dffsrx1_0.add(gdstk.Reference(nmos3_cdns_641374622494, (146,6), rotation=pi, x_reflection=True))
dffsrx1_0.add(gdstk.Reference(pmos3_cdns_641374622495, (34,29), x_reflection=True))
dffsrx1_0.add(gdstk.Reference(pmos3_cdns_641374622495, (42,29), x_reflection=True))
dffsrx1_0.add(gdstk.Reference(pmos3_cdns_641374622495, (34,29), rotation=pi))
dffsrx1_0.add(gdstk.Reference(pmos3_cdns_641374622495, (26,29), rotation=pi))
dffsrx1_0.add(gdstk.Reference(pmos3_cdns_641374622495, (82,29), rotation=pi))
dffsrx1_0.add(gdstk.Reference(pmos3_cdns_641374622495, (74,29), rotation=pi))
dffsrx1_0.add(gdstk.Reference(pmos3_cdns_641374622495, (122,29), x_reflection=True))
dffsrx1_0.add(gdstk.Reference(pmos3_cdns_641374622495, (114,29), x_reflection=True))
dffsrx1_0.add(gdstk.Reference(pmos3_cdns_641374622495, (138,29), rotation=pi))
dffsrx1_0.add(gdstk.Reference(pmos3_cdns_641374622495, (58,29), rotation=pi))
dffsrx1_0.add(gdstk.Reference(pmos3_cdns_641374622495, (10,29), rotation=pi))
dffsrx1_0.add(gdstk.Reference(pmos3_cdns_641374622495, (154,29), rotation=pi))
dffsrx1_0.add(gdstk.Reference(pmos3_cdns_641374622495, (18,29), rotation=pi))
dffsrx1_0.add(gdstk.Reference(pmos3_cdns_641374622495, (114,29), rotation=pi))
dffsrx1_0.add(gdstk.Reference(pmos3_cdns_641374622495, (106,29), rotation=pi))
dffsrx1_0.add(gdstk.Reference(pmos3_cdns_641374622495, (98,29), rotation=pi))
dffsrx1_0.add(gdstk.Reference(pmos3_cdns_641374622495, (66,29), rotation=pi))
dffsrx1_0.add(gdstk.Reference(pmos3_cdns_641374622495, (90,12), rotation=pi))
dffsrx1_0.add(gdstk.Reference(pmos3_cdns_641374622495, (146,29), rotation=pi))
dffsrx1_0.add(gdstk.Reference(m1_po_cdns_641374622490, (21.9,21)))
dffsrx1_0.add(gdstk.Reference(m1_po_cdns_641374622490, (148,18)))
dffsrx1_0.add(gdstk.Reference(m1_po_cdns_641374622490, (132,15.9)))
dffsrx1_0.add(gdstk.Reference(m1_po_cdns_641374622490, (110,12)))
dffsrx1_0.add(gdstk.Reference(m1_po_cdns_641374622490, (102,14)))
dffsrx1_0.add(gdstk.Reference(m1_po_cdns_641374622490, (90.5,18)))
dffsrx1_0.add(gdstk.Reference(m1_po_cdns_641374622490, (73.5,21)))
dffsrx1_0.add(gdstk.Reference(m1_po_cdns_641374622490, (66,12)))
dffsrx1_0.add(gdstk.Reference(m1_po_cdns_641374622490, (60,18)))
dffsrx1_0.add(gdstk.Reference(m1_po_cdns_641374622490, (50,14)))
dffsrx1_0.add(gdstk.Reference(m1_po_cdns_641374622490, (42,14)))
dffsrx1_0.add(gdstk.Reference(m1_po_cdns_641374622490, (16,32)))
dffsrx1_0.add(gdstk.Reference(m1_po_cdns_641374622490, (9.5,18)))
dffsrx1_0.add(gdstk.Reference(m1_po_cdns_641374622490, (2,18)))
dffsrx1_0.add(gdstk.Reference(m2_m1_cdns_641374622491, (78,32)))
dffsrx1_0.add(gdstk.Reference(m2_m1_cdns_641374622491, (64,30)))
dffsrx1_0.add(gdstk.Reference(m2_m1_cdns_641374622491, (23.9,21)))
dffsrx1_0.add(gdstk.Reference(m2_m1_cdns_641374622491, (132,20)))
dffsrx1_0.add(gdstk.Reference(m2_m1_cdns_641374622491, (96,22)))
dffsrx1_0.add(gdstk.Reference(m2_m1_cdns_641374622491, (112,12)))
dffsrx1_0.add(gdstk.Reference(m2_m1_cdns_641374622491, (56,10)))
dffsrx1_0.add(gdstk.Reference(m2_m1_cdns_641374622491, (124,18)))
dffsrx1_0.add(gdstk.Reference(m2_m1_cdns_641374622491, (112,18)))
dffsrx1_0.add(gdstk.Reference(m2_m1_cdns_641374622491, (88,18)))
dffsrx1_0.add(gdstk.Reference(m2_m1_cdns_641374622491, (100,14)))
dffsrx1_0.add(gdstk.Reference(m2_m1_cdns_641374622491, (60,16)))
dffsrx1_0.add(gdstk.Reference(m2_m1_cdns_641374622491, (52,21)))
dffsrx1_0.add(gdstk.Reference(m2_m1_cdns_641374622491, (68,21)))
dffsrx1_0.add(gdstk.Label('QN', (154,14), layer=7, texttype=0))
dffsrx1_0.add(gdstk.Label('SN', (78,32.7), layer=7, texttype=3))
dffsrx1_0.add(gdstk.Label('QN', (153.9,13.9), layer=7, texttype=3))
dffsrx1_0.add(gdstk.Label('Q', (138.2,18), layer=7, texttype=3))
dffsrx1_0.add(gdstk.Label('SN', (77.9,32.1), layer=7, texttype=3))
dffsrx1_0.add(gdstk.Label('RN', (50.1,14), layer=7, texttype=3))
dffsrx1_0.add(gdstk.Label('D', (42,14), layer=7, texttype=3))
dffsrx1_0.add(gdstk.Label('VSS!', (11,-0.2), layer=7, texttype=3))
dffsrx1_0.add(gdstk.Label('VDD!', (7,36.2), layer=7, texttype=3))
dffsrx1_0.add(gdstk.Label('CK', (1.8,18.2), layer=7, texttype=3))
dffsrx1_0.add(gdstk.Label('QN', (154,14), layer=7, texttype=3))
dffsrx1_0.add(gdstk.Label('QN', (154,14), layer=7, texttype=3))

lib.write_gds('DFFSRX1_0.gds')
